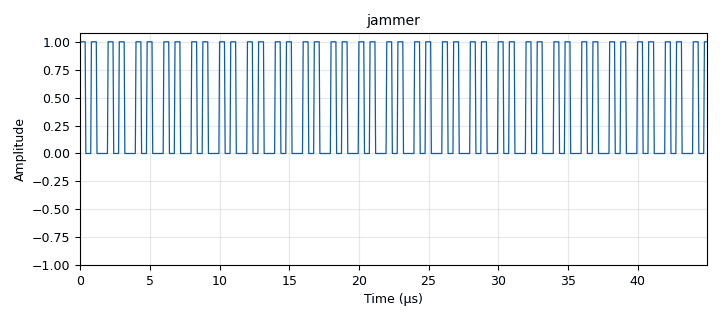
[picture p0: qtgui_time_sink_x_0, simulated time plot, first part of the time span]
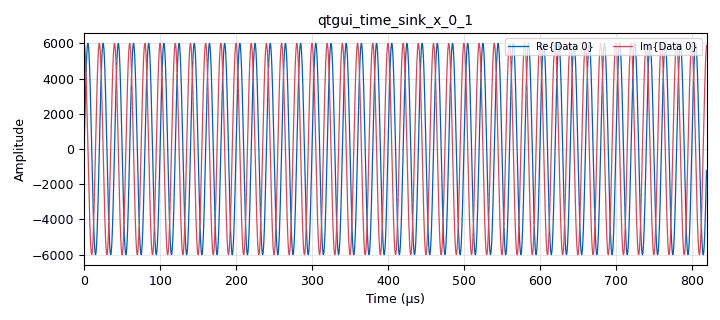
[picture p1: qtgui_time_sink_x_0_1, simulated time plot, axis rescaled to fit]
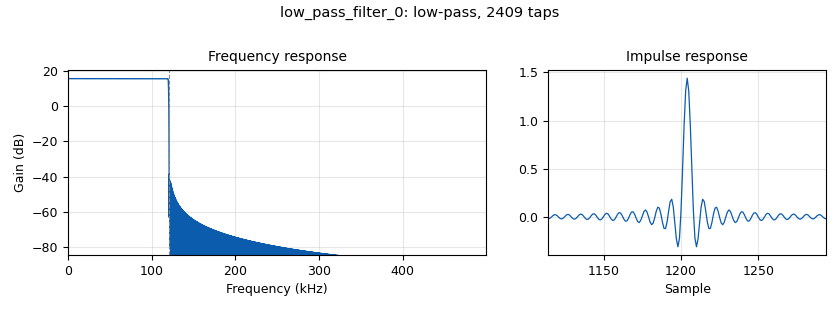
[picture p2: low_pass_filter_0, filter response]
<?xml version='1.0' encoding='utf-8'?>
<?grc format='1' created='3.7.13'?>
<flow_graph>
<block>
<key>options</key>
<param><key>id</key><value>jam_rec</value></param>
<param><key>generate_options</key><value>qt_gui</value></param>
</block>
<block>
<key>variable</key>
<param><key>id</key><value>ampl</value></param>
<param><key>value</key><value>6000</value></param>
</block>
<block>
<key>variable</key>
<param><key>id</key><value>samp_rate_jammer</value></param>
<param><key>value</key><value>20000000</value></param>
</block>
<block>
<key>variable</key>
<param><key>id</key><value>samp_rate_listener</value></param>
<param><key>value</key><value>1000000</value></param>
</block>
<block>
<key>variable_qtgui_entry</key>
<param><key>id</key><value>shilo_car</value></param>
<param><key>value</key><value>433847000</value></param>
<param><key>type</key><value>int</value></param>
</block>
<block>
<key>variable</key>
<param><key>id</key><value>signal_freq</value></param>
<param><key>value</key><value>-50000</value></param>
</block>
<block>
<key>variable</key>
<param><key>id</key><value>tx_freq</value></param>
<param><key>value</key><value>433.89e6</value></param>
</block>
<block>
<key>analog_const_source_x</key>
<param><key>id</key><value>analog_const_source_x_0</value></param>
<param><key>const</key><value>0</value></param>
<param><key>type</key><value>float</value></param>
</block>
<block>
<key>analog_sig_source_x</key>
<param><key>id</key><value>analog_sig_source_x_0</value></param>
<param><key>amp</key><value>ampl</value></param>
<param><key>freq</key><value>signal_freq</value></param>
<param><key>offset</key><value>0</value></param>
<param><key>type</key><value>complex</value></param>
<param><key>samp_rate</key><value>samp_rate_jammer</value></param>
<param><key>waveform</key><value>analog.GR_COS_WAVE</value></param>
</block>
<block>
<key>blocks_add_xx</key>
<param><key>id</key><value>blocks_add_xx_0</value></param>
<param><key>type</key><value>complex</value></param>
</block>
<block>
<key>blocks_file_sink</key>
<param><key>id</key><value>blocks_file_sink_0</value></param>
<param><key>file</key><value>/home/amiel/Desktop/carkey/replay-jamming-attack/signal.raw</value></param>
<param><key>type</key><value>complex</value></param>
</block>
<block>
<key>blocks_float_to_complex</key>
<param><key>id</key><value>blocks_float_to_complex_0</value></param>
</block>
<block>
<key>blocks_repeat</key>
<param><key>id</key><value>blocks_repeat_0</value></param>
<param><key>interp</key><value>8</value></param>
<param><key>type</key><value>int</value></param>
</block>
<block>
<key>blocks_throttle</key>
<param><key>id</key><value>blocks_throttle_0</value></param>
<param><key>samples_per_second</key><value>samp_rate_jammer</value></param>
<param><key>type</key><value>complex</value></param>
</block>
<block>
<key>blocks_vector_source_x</key>
<param><key>id</key><value>blocks_vector_source_x_0</value></param>
<param><key>type</key><value>float</value></param>
<param><key>repeat</key><value>True</value></param>
<param><key>vector</key><value>(1, 0,  0, 1, 0)</value></param>
</block>
<block>
<key>low_pass_filter</key>
<param><key>id</key><value>low_pass_filter_0</value></param>
<param><key>cutoff_freq</key><value>120000</value></param>
<param><key>decim</key><value>1</value></param>
<param><key>type</key><value>fir_filter_ccf</value></param>
<param><key>gain</key><value>6</value></param>
<param><key>samp_rate</key><value>samp_rate_listener</value></param>
<param><key>width</key><value>1000</value></param>
<param><key>win</key><value>firdes.WIN_HAMMING</value></param>
</block>
<block>
<key>osmosdr_sink</key>
<param><key>id</key><value>osmosdr_sink_0</value></param>
<param><key>bb_gain0</key><value>62</value></param>
<param><key>freq0</key><value>tx_freq</value></param>
<param><key>if_gain0</key><value>47</value></param>
<param><key>gain0</key><value>14</value></param>
<param><key>args</key><value></value></param>
<param><key>type</key><value>fc32</value></param>
<param><key>sample_rate</key><value>samp_rate_jammer</value></param>
<param><key>sync</key><value>sync</value></param>
</block>
<block>
<key>qtgui_freq_sink_x</key>
<param><key>id</key><value>qtgui_freq_sink_x_0</value></param>
<param><key>bw</key><value>120000</value></param>
<param><key>fc</key><value>0</value></param>
<param><key>fftsize</key><value>1024</value></param>
<param><key>showports</key><value>True</value></param>
<param><key>type</key><value>complex</value></param>
<param><key>wintype</key><value>firdes.WIN_BLACKMAN_hARRIS</value></param>
</block>
<block>
<key>qtgui_time_sink_x</key>
<param><key>id</key><value>qtgui_time_sink_x_0</value></param>
<param><key>color1</key><value>"blue"</value></param>
<param><key>label1</key><value></value></param>
<param><key>name</key><value>jammer</value></param>
<param><key>size</key><value>16384</value></param>
<param><key>srate</key><value>samp_rate_jammer</value></param>
<param><key>type</key><value>float</value></param>
</block>
<block>
<key>qtgui_time_sink_x</key>
<param><key>id</key><value>qtgui_time_sink_x_0_1</value></param>
<param><key>color1</key><value>"blue"</value></param>
<param><key>label1</key><value></value></param>
<param><key>color2</key><value>"red"</value></param>
<param><key>label2</key><value></value></param>
<param><key>size</key><value>16384</value></param>
<param><key>srate</key><value>samp_rate_jammer</value></param>
<param><key>type</key><value>complex</value></param>
</block>
<block>
<key>rtlsdr_source</key>
<param><key>id</key><value>rtlsdr_source_0</value></param>
<param><key>bb_gain0</key><value>20</value></param>
<param><key>freq0</key><value>tx_freq</value></param>
<param><key>gain_mode0</key><value>False</value></param>
<param><key>if_gain0</key><value>20</value></param>
<param><key>gain0</key><value>10</value></param>
<param><key>args</key><value></value></param>
<param><key>type</key><value>fc32</value></param>
<param><key>sample_rate</key><value>samp_rate_listener</value></param>
<param><key>sync</key><value></value></param>
</block>
<connection><source_block_id>analog_const_source_x_0</source_block_id><sink_block_id>blocks_float_to_complex_0</sink_block_id><source_key>0</source_key><sink_key>1</sink_key></connection>
<connection><source_block_id>analog_sig_source_x_0</source_block_id><sink_block_id>blocks_throttle_0</sink_block_id><source_key>0</source_key><sink_key>0</sink_key></connection>
<connection><source_block_id>blocks_add_xx_0</source_block_id><sink_block_id>osmosdr_sink_0</sink_block_id><source_key>0</source_key><sink_key>0</sink_key></connection>
<connection><source_block_id>blocks_add_xx_0</source_block_id><sink_block_id>qtgui_time_sink_x_0_1</sink_block_id><source_key>0</source_key><sink_key>0</sink_key></connection>
<connection><source_block_id>blocks_float_to_complex_0</source_block_id><sink_block_id>blocks_add_xx_0</sink_block_id><source_key>0</source_key><sink_key>0</sink_key></connection>
<connection><source_block_id>blocks_repeat_0</source_block_id><sink_block_id>blocks_float_to_complex_0</sink_block_id><source_key>0</source_key><sink_key>0</sink_key></connection>
<connection><source_block_id>blocks_repeat_0</source_block_id><sink_block_id>qtgui_time_sink_x_0</sink_block_id><source_key>0</source_key><sink_key>0</sink_key></connection>
<connection><source_block_id>blocks_throttle_0</source_block_id><sink_block_id>blocks_add_xx_0</sink_block_id><source_key>0</source_key><sink_key>1</sink_key></connection>
<connection><source_block_id>blocks_vector_source_x_0</source_block_id><sink_block_id>blocks_repeat_0</sink_block_id><source_key>0</source_key><sink_key>0</sink_key></connection>
<connection><source_block_id>low_pass_filter_0</source_block_id><sink_block_id>blocks_file_sink_0</sink_block_id><source_key>0</source_key><sink_key>0</sink_key></connection>
<connection><source_block_id>low_pass_filter_0</source_block_id><sink_block_id>qtgui_freq_sink_x_0</sink_block_id><source_key>0</source_key><sink_key>0</sink_key></connection>
<connection><source_block_id>rtlsdr_source_0</source_block_id><sink_block_id>low_pass_filter_0</sink_block_id><source_key>0</source_key><sink_key>0</sink_key></connection>
</flow_graph>
